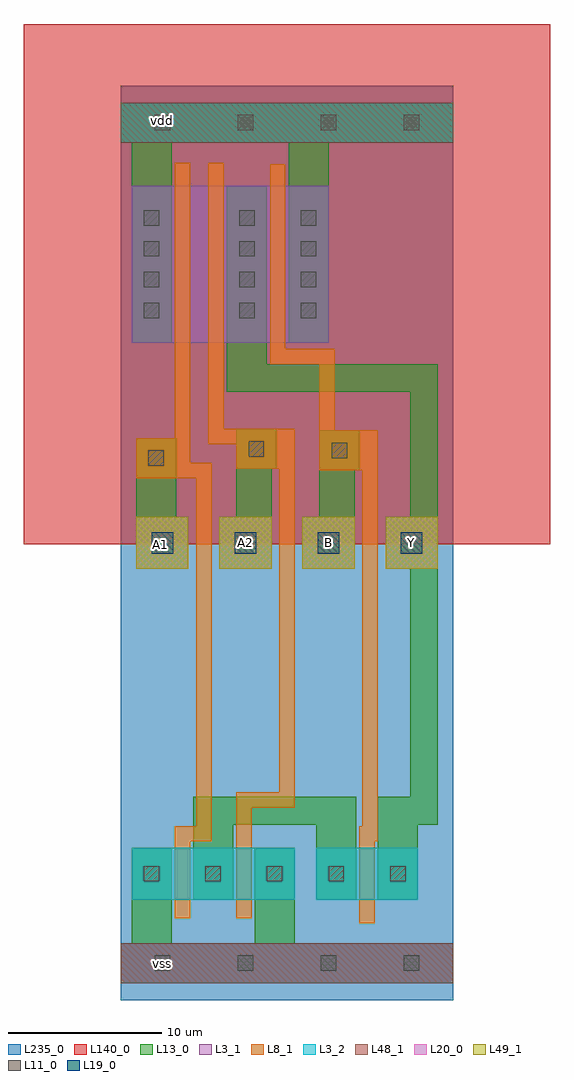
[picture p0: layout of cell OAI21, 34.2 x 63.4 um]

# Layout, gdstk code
import gdstk
lib = gdstk.Library(unit=1e-6, precision=1e-09)
def R(c, l, rs):  # rectangles x0, y0, x1, y1
    for r in rs: c.add(gdstk.rectangle(r[:2], r[2:], *l))
def A(c, l, x, y, w, h, nx, ny, dx, dy):  # array of equal rectangles
    R(c, l, [(x+i*dx, y+j*dy, x+i*dx+w, y+j*dy+h) for i in range(nx) for j in range(ny)])
def P(c, l, *ps):  # polygons
    for p in ps: c.add(gdstk.Polygon(p, *l))
L3_1 = (3, 1)
L3_2 = (3, 2)
L8_1 = (8, 1)
L11_0 = (11, 0)
L13_0 = (13, 0)
L19_0 = (19, 0)
L20_0 = (20, 0)
L48_1 = (48, 1)
L49_1 = (49, 1)
L140_0 = (140, 0)
L235_0 = (235, 0)

oai21 = lib.new_cell('OAI21')
R(oai21, L3_1, [(0,1.1,21.6,3.7), (0.7,42.7,13.5,52.9)])
R(oai21, L3_2, [(0.7,6.5,11.3,9.9), (12.7,6.5,19.3,9.9), (0,55.7,21.6,58.3)])
P(oai21, L8_1, [(15.5,5),(15.5,11.3),(15.7,11.3),(15.7,34.4),(12.9,34.4),(12.9,41.3),(9.7,41.3),(9.7,54.3),(10.7,54.3),(10.7,42.3),(13.9,42.3),(13.9,37),(16.7,37),(16.7,10.3),(16.5,10.3),(16.5,5)],
  [(3.5,5.3),(3.5,11.3),(4.9,11.3),(4.9,33.9),(1,33.9),(1,36.5),(3.5,36.5),(3.5,54.4),(4.5,54.4),(4.5,34.9),(5.9,34.9),(5.9,10.3),(4.5,10.3),(4.5,5.3)],
  [(7.5,5.3),(7.5,13.5),(10.3,13.5),(10.3,34.5),(7.5,34.5),(7.5,36.1),(5.7,36.1),(5.7,54.4),(6.7,54.4),(6.7,37.1),(11.3,37.1),(11.3,12.5),(8.5,12.5),(8.5,5.3)])
A(oai21, L11_0, 7.6, 1.9, 1, 1, 3, 2, 5.4, 54.6)
A(oai21, L11_0, 1.5, 7.7, 1, 1, 5, 1, 4, 0)
A(oai21, L11_0, 1.5, 44.3, 1, 1, 1, 4, 0, 2)
A(oai21, L11_0, 7.7, 44.3, 1, 1, 1, 4, 0, 2)
A(oai21, L11_0, 11.7, 44.3, 1, 1, 1, 4, 0, 2)
R(oai21, L11_0, [(2.2,1.9,3.2,2.9), (7.6,1.9,8.6,2.9), (1.8,34.7,2.8,35.7), (13.7,35.2,14.7,36.2), (8.3,35.3,9.3,36.3), (2.2,56.5,3.2,57.5), (2.2,56.5,3.2,57.5), (7.6,56.5,8.6,57.5), (7.6,56.5,8.6,57.5), (7.6,56.5,8.6,57.5)])
R(oai21, L13_0, [(0,1.1,21.6,3.7), (0.7,3.7,3.3,9.9), (8.7,3.7,11.3,9.9), (0.7,42.7,3.3,55.7), (10.9,42.7,13.5,55.7), (0,55.7,21.6,58.3)])
P(oai21, L13_0, [(4.7,6.5),(4.7,13.2),(15.3,13.2),(15.3,6.5),(12.7,6.5),(12.7,11.4),(7.3,11.4),(7.3,6.5)],
  [(1,28),(1,36.5),(3.6,36.5),(3.6,31.4),(4.4,31.4),(4.4,28)],
  [(11.8,28),(11.8,31.4),(12.9,31.4),(12.9,37),(15.5,37),(15.5,34.4),(15.2,34.4),(15.2,28)],
  [(6.4,28),(6.4,31.4),(7.5,31.4),(7.5,37.1),(10.1,37.1),(10.1,34.5),(9.8,34.5),(9.8,28)],
  [(16.7,6.5),(16.7,13.2),(18.8,13.2),(18.8,28),(17.2,28),(17.2,31.4),(18.8,31.4),(18.8,39.5),(6.9,39.5),(6.9,52.9),(9.5,52.9),(9.5,41.3),(20.6,41.3),(20.6,11.4),(19.3,11.4),(19.3,6.5)])
A(oai21, L19_0, 2, 29, 1.4, 1.4, 4, 1, 5.4, 0)
A(oai21, L20_0, 1, 28, 3.4, 3.4, 4, 1, 5.4, 0)
R(oai21, L48_1, [(0,1.1,21.6,3.7), (0,55.7,21.6,58.3)])
A(oai21, L49_1, 1, 28, 3.4, 3.4, 4, 1, 5.4, 0)
R(oai21, L140_0, [(-6.3,29.6,27.9,63.4)])
R(oai21, L235_0, [(0,0,21.6,59.4)])
oai21.add(gdstk.Label('A1', (2.6,29.6), layer=49, texttype=0))
oai21.add(gdstk.Label('A2', (8.1,29.7), layer=49, texttype=0))
oai21.add(gdstk.Label('B', (13.5,29.7), layer=49, texttype=0))
oai21.add(gdstk.Label('Y', (18.9,29.7), layer=49, texttype=0))
oai21.add(gdstk.Label('vss', (2.7,2.4), layer=48, texttype=0))
oai21.add(gdstk.Label('vdd', (2.7,57.1), layer=48, texttype=0))

lib.write_gds('OAI21.gds')
